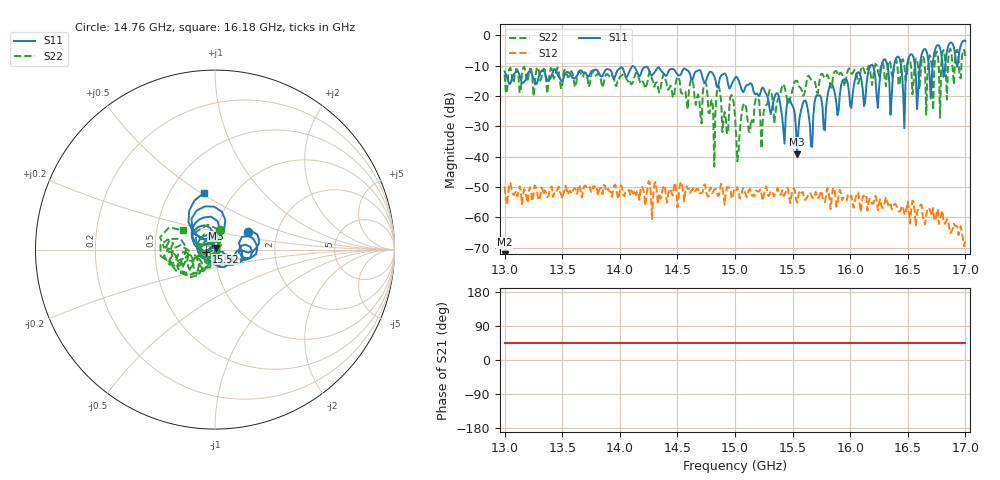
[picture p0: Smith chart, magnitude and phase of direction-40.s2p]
!Keysight Technologies,P9374A,MY57211810,A.19.30.04
!Date: Friday, May 02, 2025 09:00:39
!Correction: S11(Off)
!S21(Off)
!S12(Off)
!S22(Off)
!S2P File: Measurements: S11, S21, S12, S22:
# Hz S  dB  R 50
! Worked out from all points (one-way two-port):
!   401 points, 13 GHz to 17 GHz, reference 50 ohm
!   highest |S21| = - dB at 13 GHz (marker M1); lowest = - dB at 13 GHz (marker M2)
!   lowest |S11| = -39.2 dB at 15.54 GHz (marker M3), VSWR 1.02, Z = 50.5 + j0.952 ohm
!   |S11| at or under -10 dB: start of sweep to 16.18 GHz; 16.1979 GHz to 16.27294 GHz (75.05 MHz wide, 0.462 % of centre); 16.32272 GHz to 16.38123 GHz (58.51 MHz wide, 0.358 % of centre) (the widest 3 of 8)
!   |S22| runs from -43.2 to -4.4 dB; largest |S21 - S12| = 0.004
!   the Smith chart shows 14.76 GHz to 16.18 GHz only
!   S11 on the Smith chart (normalised r, x): 14.76 GHz: 1.41, +0.28; 15.52 GHz: 0.91, -0.02; 16.18 GHz: 0.73, +0.51
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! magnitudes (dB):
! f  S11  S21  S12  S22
! 13 GHz  -11.9  -  -49.8  -12.9
! 13.67 GHz  -11.8  -  -53.4  -13.4
! 14.34 GHz  -10.5  -  -52.0  -18.8
! 14.76 GHz  -13.7  -  -52.8  -18.9
! 15 GHz  -14.1  -  -50.6  -26.4
! 15.52 GHz  -26.1  -  -51.3  -15.1
! 15.54 GHz  -39.2  -  -55.1  -15.0
! 15.6 GHz  -21.6  -  -53.9  -19.6
! 15.67 GHz  -36.8  -  -53.4  -14.9
! 15.72 GHz  -19.8  -  -53.7  -19.1
! 15.78 GHz  -31.3  -  -55.0  -14.1
! 15.83 GHz  -16.0  -  -57.2  -17.1
! 16.12 GHz  -23.3  -  -52.9  -11.4
! 16.18 GHz  -9.9  -  -54.4  -13.6
! 16.34 GHz  -15.5  -  -55.7  -8.3
! 16.41 GHz  -7.0  -  -56.6  -10.2
! 16.47 GHz  -30.6  -  -58.8  -10.0
! 16.52 GHz  -6.4  -  -62.0  -7.9
! 16.58 GHz  -24.3  -  -58.3  -8.1
! 16.64 GHz  -4.6  -  -60.6  -7.6
! 16.7 GHz  -20.8  -  -58.5  -7.2
! 17 GHz  -1.9  -  -67.2  -6.9
